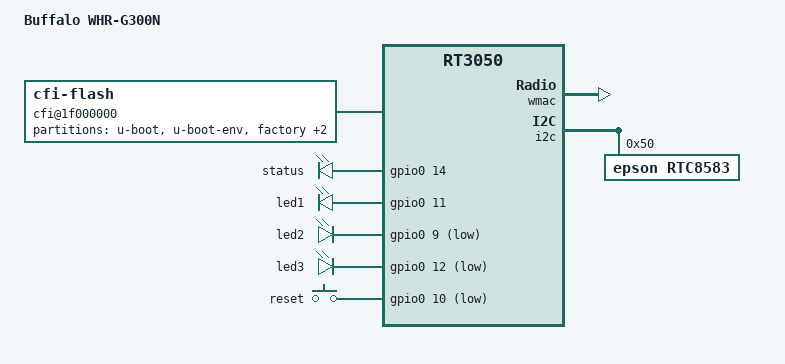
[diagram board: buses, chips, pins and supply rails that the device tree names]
/dts-v1/;

#include <dt-bindings/gpio/tegra-gpio.h>
#include "fbsd-rt3050.dtsi"

/ {
	compatible = "WHR-G300N", "ralink,rt3050-soc";
	model = "Buffalo WHR-G300N";

	cfi@1f000000 {
		compatible = "cfi-flash";
		reg = <0x1f000000 0x800000>;
		bank-width = <2>;
		device-width = <2>;
		#address-cells = <1>;
		#size-cells = <1>;

		partition@0 {
			label = "u-boot";
			reg = <0x0 0x30000>;
			read-only;
		};

		partition@30000 {
			label = "u-boot-env";
			reg = <0x30000 0x10000>;
			read-only;
		};

		factory: partition@40000 {
			label = "factory";
			reg = <0x40000 0x10000>;
			read-only;
		};

		partition@50000 {
			label = "kernel";
			reg = <0x50000 0x110000>;
		};

		partition@160000 {
			label = "rootfs";
			reg = <0x160000 0x2a0000>;
		};
	};

	gpio-leds {
		compatible = "gpio-leds";

		status {
			label = "status";
			gpios = <&gpio0 14 0>;
		};

		led1 {
			label = "led1";
			gpios = <&gpio0 11 0>;
		};

		led2 {
			label = "led2";
			gpios = <&gpio0 9 1>;
		};

		led3 {
			label = "led3";
			gpios = <&gpio0 12 1>;
		};

	};
	gpio-keys-polled {
		compatible = "gpio-keys-polled";
		#address-cells = <1>;
		#size-cells = <0>;
		poll-interval = <20>;

		reset {
			label = "reset";
			gpios = <&gpio0 10 1>;
			linux,code = <0x198>;
		};

	};

/*
        gpioiic {
                compatible = "gpioiic";
                gpios = <&gpio0 2 0
                        &gpio0 1 0>;
                gpio-names = "scl", "sda";
		rtc8583 {
			status = "okay";
			compatible = "epson,rtc8583";
			reg = <0x50>;
		};
        };
*/
};

&pinctrl {
	state_default: pinctrl0 {
		gpio {
//			ralink,group = "i2c", "spi", "jtag", "uartf", "rgmii", "mdio";
			ralink,group = "spi", "jtag", "uartf", "rgmii", "mdio";
			ralink,function = "gpio";
		};

	};
};

&ethernet {
//	mtd-mac-address = <&factory 0x28>;
};

&esw {
	mediatek,portmap = <0x2f>;
};

&wmac {
//	ralink,mtd-eeprom = <&factory 0>;
};
/*
&otg {
	status = "okay";
};
*/

&i2c {
	status = "okay";
	rtc8583 {
		status = "okay";
		compatible = "epson,rtc8583";
		reg = <0x50>;
	};
};
